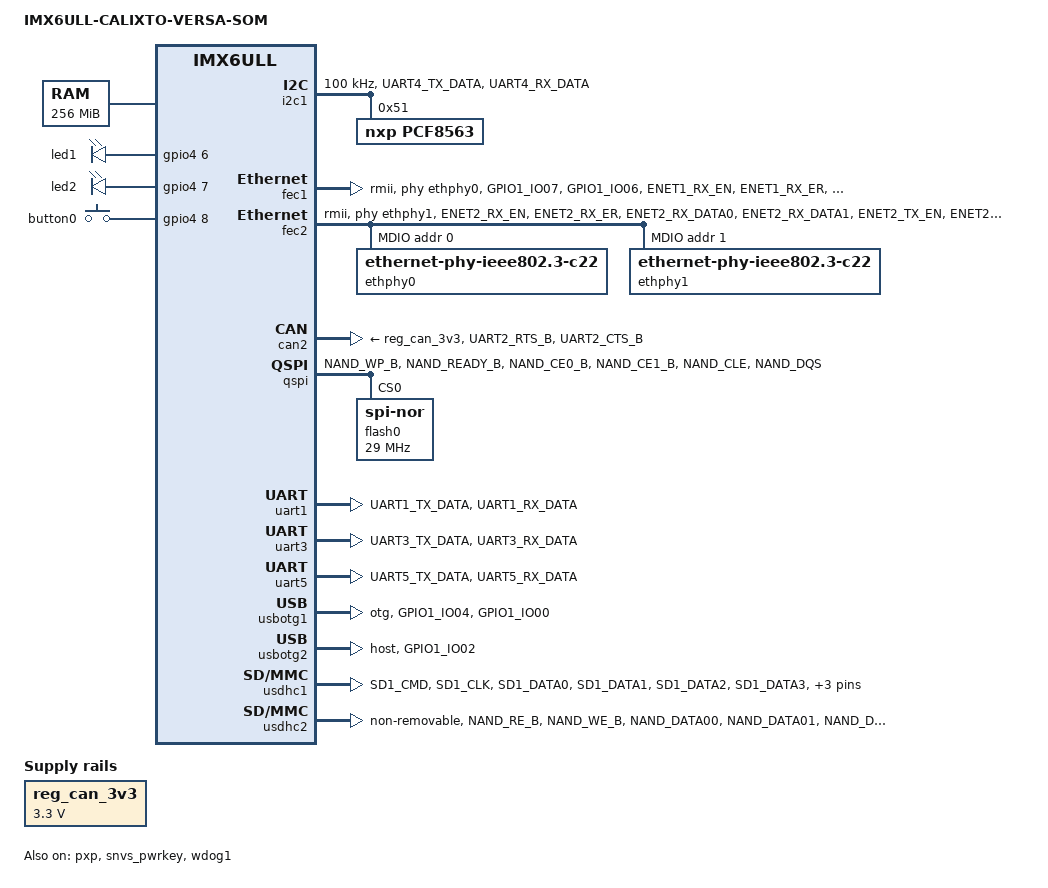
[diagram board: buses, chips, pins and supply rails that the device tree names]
// SPDX-License-Identifier: (GPL-2.0 OR MIT)
/*
 * Copyright (C) 2024-2025 Calixto Systems Pvt Ltd - https://www.calixtosystems.com/
 *
 */

/dts-v1/;

#include "imx6ull.dtsi"

/ {
	model = "IMX6ULL-CALIXTO-VERSA-SOM";
	compatible = "calixto,imx6ull-calixto-versa-som", "fsl,imx6ull";

	aliases {
		i2c0 = &i2c1;
	};

	chosen {
		stdout-path = &uart1;
	};

	memory@80000000 {
		device_type = "memory";
		reg = <0x00000000 0x80000000 0x00000000 0x10000000>;
	};

	reserved-memory {
		#address-cells = <1>;
		#size-cells = <1>;
		ranges;

		linux,cma {
			compatible = "shared-dma-pool";
			reusable;
			size = <0xa000000>;
			linux,cma-default;
		};
	};

	pxp_v4l2 {
		compatible = "fsl,imx6ul-pxp-v4l2", "fsl,imx6sx-pxp-v4l2", "fsl,imx6sl-pxp-v4l2";
		status = "okay";
	};

	reg_can_3v3: regulator-can-3v3 {
		compatible = "regulator-fixed";
		regulator-name = "can-3v3";
		regulator-min-microvolt = <3300000>;
		regulator-max-microvolt = <3300000>;
	};
	
	/* LEDS */
	leds {
        	pinctrl-names = "default";
        	pinctrl-0 = <&pinctrl_led_gpios>;

        	compatible = "gpio-leds";

        	led1 {
            		label = "led1";
            		gpios = <&gpio4 6 GPIO_ACTIVE_HIGH>;
            		linux,default-trigger = "heartbeat";
            		default-state = "on";
        	};

        	led2 {
            		label = "led2";
            		gpios = <&gpio4 7 GPIO_ACTIVE_HIGH>;
            		linux,default-trigger = "heartbeat";
            		default-state = "on";
        	};
    	};
    
        /* USER SWITCH - S3 */
    	gpio_buttons: gpio_buttons0 {
        	compatible = "gpio-keys";
        	pinctrl-names = "default";
        	pinctrl-0 = <&pinctrl_user_switch_gpio>;
        	#address-cells = <1>;
        	#size-cells = <0>;

        	switch1 {
            		label = "button0";
            		linux,code = <0x100>;
            		gpios = <&gpio4 8 GPIO_ACTIVE_HIGH>;
        	};
    	};

};

&clks {
	assigned-clocks = <&clks IMX6UL_CLK_PLL3_PFD2>,
			  <&clks IMX6UL_CLK_PLL4_AUDIO_DIV>;
	assigned-clock-rates = <320000000>, <786432000>;
};

/* I2C */
&i2c1 {
	clock-frequency = <100000>;
	pinctrl-names = "default";
	pinctrl-0 = <&pinctrl_i2c1>;
	status = "okay";

	pcf8563@51 {
		status = "okay";
		compatible = "nxp,pcf8563";
		reg = <0x51>;
	};
};

/* Ethernet */
&fec1 {
	pinctrl-names = "default";
	pinctrl-0 = <&pinctrl_enet1>;
	phy-mode = "rmii";
	phy-handle = <&ethphy0>;
	status = "okay";
};

&fec2 {
	pinctrl-names = "default";
	pinctrl-0 = <&pinctrl_enet2>;
	phy-mode = "rmii";
	phy-handle = <&ethphy1>;
	status = "okay";

	mdio {
		#address-cells = <1>;
		#size-cells = <0>;
		
		ethphy0: ethernet-phy@0 {
			compatible = "ethernet-phy-ieee802.3-c22";
			reg = <0>;
			clocks = <&clks IMX6UL_CLK_ENET_REF>;
			clock-names = "rmii-ref";

		};
		
		ethphy1: ethernet-phy@1 {
			compatible = "ethernet-phy-ieee802.3-c22";
			reg = <1>;
			clocks = <&clks IMX6UL_CLK_ENET2_REF>;
			clock-names = "rmii-ref";
		};
	};
};

/* CAN */
&can2 {
	pinctrl-names = "default";
	pinctrl-0 = <&pinctrl_flexcan2>;
	xceiver-supply = <&reg_can_3v3>;
	status = "okay";
};

&pxp {
	status = "okay";
};

/* QSPI */
&qspi {
	pinctrl-names = "default";
	pinctrl-0 = <&pinctrl_qspi>;
	status = "okay";

	flash0: flash@0 {
		#address-cells = <1>;
		#size-cells = <1>;
		compatible = "jedec,spi-nor";
		spi-max-frequency = <29000000>;
		spi-rx-bus-width = <4>;
		spi-tx-bus-width = <1>;
		reg = <0>;
	};
};

/* POWER */
&snvs_poweroff {
	status = "okay";
};

&snvs_pwrkey {
	status = "okay";
};

/* UART */
&uart1 {
	pinctrl-names = "default";
	pinctrl-0 = <&pinctrl_uart1>;
	status = "okay";
};

&uart3 {
	pinctrl-names = "default";
	pinctrl-0 = <&pinctrl_uart3>;
	status = "okay";
};

&uart5 {
	pinctrl-names = "default";
	pinctrl-0 = <&pinctrl_uart5>;
	status = "okay";
};

/* USB OTG */
&usbotg1 {
	dr_mode = "otg";
	pinctrl-names = "default";
	pinctrl-0 = <&pinctrl_usb_otg1_pwr>;
	status = "okay";
};
        

/* USB HOST */
&usbotg2 {
	dr_mode = "host";
	disable-over-current;
	pinctrl-names = "default";
        pinctrl-0 = <&pinctrl_usb_otg2_pwr>;
	status = "okay";
};

&usbphy1 {
	fsl,tx-d-cal = <106>;
};

&usbphy2 {
	fsl,tx-d-cal = <106>;
};

&usdhc1 {
	pinctrl-names = "default", "state_100mhz", "state_200mhz";
	pinctrl-0 = <&pinctrl_usdhc1>;
	pinctrl-1 = <&pinctrl_usdhc1_100mhz>;
	pinctrl-2 = <&pinctrl_usdhc1_200mhz>;
	cd-gpios = <&gpio1 19 GPIO_ACTIVE_LOW>;
	keep-power-in-suspend;
	wakeup-source;
	status = "okay";
};

&usdhc2 {
	pinctrl-names = "default";
	pinctrl-0 = <&pinctrl_usdhc2>;
	non-removable;
	keep-power-in-suspend;
	wakeup-source;
	status = "okay";
};

/* WATCHDOG */
&wdog1 {
	pinctrl-names = "default";
	pinctrl-0 = <&pinctrl_wdog>;
	fsl,ext-reset-output;
	status = "okay";
};

&iomuxc {
	pinctrl-names = "default";

	pinctrl_enet1: enet1grp {
		fsl,pins = <
			MX6UL_PAD_GPIO1_IO07__ENET2_MDC		0x1b0b0
			MX6UL_PAD_GPIO1_IO06__ENET2_MDIO	0x1b0b0
			MX6UL_PAD_ENET1_RX_EN__ENET1_RX_EN	0x1b0b0
			MX6UL_PAD_ENET1_RX_ER__ENET1_RX_ER	0x1b0b0
			MX6UL_PAD_ENET1_RX_DATA0__ENET1_RDATA00	0x1b0b0
			MX6UL_PAD_ENET1_RX_DATA1__ENET1_RDATA01	0x1b0b0
			MX6UL_PAD_ENET1_TX_EN__ENET1_TX_EN	0x1b0b0
			MX6UL_PAD_ENET1_TX_DATA0__ENET1_TDATA00	0x1b0b0
			MX6UL_PAD_ENET1_TX_DATA1__ENET1_TDATA01	0x1b0b0
			MX6UL_PAD_ENET1_TX_CLK__ENET1_REF_CLK1	0x4001b031
		>;
	};

	pinctrl_led_gpios: gpiogrp {
        	fsl,pins = <
        		MX6UL_PAD_NAND_DATA04__GPIO4_IO06	0x17059
        		MX6UL_PAD_NAND_DATA05__GPIO4_IO07	0x17059
        	>;
        };
        
        pinctrl_user_switch_gpio: gpiogrp1 {
        	fsl,pins = <
        		MX6UL_PAD_NAND_DATA06__GPIO4_IO08	0x17059
        	>;
        };
        
	pinctrl_enet2: enet2grp {
		fsl,pins = <
			MX6UL_PAD_ENET2_RX_EN__ENET2_RX_EN	0x1b0b0
			MX6UL_PAD_ENET2_RX_ER__ENET2_RX_ER	0x1b0b0
			MX6UL_PAD_ENET2_RX_DATA0__ENET2_RDATA00	0x1b0b0
			MX6UL_PAD_ENET2_RX_DATA1__ENET2_RDATA01	0x1b0b0
			MX6UL_PAD_ENET2_TX_EN__ENET2_TX_EN	0x1b0b0
			MX6UL_PAD_ENET2_TX_DATA0__ENET2_TDATA00	0x1b0b0
			MX6UL_PAD_ENET2_TX_DATA1__ENET2_TDATA01	0x1b0b0
			MX6UL_PAD_ENET2_TX_CLK__ENET2_REF_CLK2	0x4001b031
		>;
	};

	pinctrl_flexcan2: flexcan2grp{
		fsl,pins = <
			MX6UL_PAD_UART2_RTS_B__FLEXCAN2_RX	0x1b020
			MX6UL_PAD_UART2_CTS_B__FLEXCAN2_TX	0x1b020
		>;
	};

	pinctrl_i2c1: i2c1grp {
		fsl,pins = <
			MX6UL_PAD_UART4_TX_DATA__I2C1_SCL 0x4001b8b0
			MX6UL_PAD_UART4_RX_DATA__I2C1_SDA 0x4001b8b0
		>;
	};

	pinctrl_qspi: qspigrp {
		fsl,pins = <
			MX6UL_PAD_NAND_WP_B__QSPI_A_SCLK	0x70a1
			MX6UL_PAD_NAND_READY_B__QSPI_A_DATA00	0x70a1
			MX6UL_PAD_NAND_CE0_B__QSPI_A_DATA01	0x70a1
			MX6UL_PAD_NAND_CE1_B__QSPI_A_DATA02	0x70a1
			MX6UL_PAD_NAND_CLE__QSPI_A_DATA03	0x70a1
			MX6UL_PAD_NAND_DQS__QSPI_A_SS0_B	0x70a1
		>;
	};

	pinctrl_tsc: tscgrp {
		fsl,pins = <
			MX6UL_PAD_GPIO1_IO01__GPIO1_IO01		0xb0
			MX6UL_PAD_GPIO1_IO02__GPIO1_IO02		0xb0
			MX6UL_PAD_GPIO1_IO03__GPIO1_IO03		0xb0
			MX6UL_PAD_GPIO1_IO04__GPIO1_IO04		0xb0
		>;
	};

	pinctrl_uart1: uart1grp {
		fsl,pins = <
			MX6UL_PAD_UART1_TX_DATA__UART1_DCE_TX 0x1b0b1
			MX6UL_PAD_UART1_RX_DATA__UART1_DCE_RX 0x1b0b1
		>;
	};
	
	pinctrl_uart3: uart3grp {
		fsl,pins = <
			MX6UL_PAD_UART3_TX_DATA__UART3_DCE_TX 0x1b0b1
			MX6UL_PAD_UART3_RX_DATA__UART3_DCE_RX 0x1b0b1
		>;
	};
	
	pinctrl_uart5: uart5grp {
		fsl,pins = <
			MX6UL_PAD_UART5_TX_DATA__UART5_DCE_TX 0x1b0b1
			MX6UL_PAD_UART5_RX_DATA__UART5_DCE_RX 0x1b0b1
		>;
	};
	
	pinctrl_usb_otg1_pwr: usbotgpwr1grp {
		fsl,pins = <
			MX6UL_PAD_GPIO1_IO04__USB_OTG1_PWR	0x17059
			MX6UL_PAD_GPIO1_IO00__ANATOP_OTG1_ID	0x17059
		>;
	};
	
	pinctrl_usb_otg2_pwr: usbotg2grp {
		fsl,pins = <
			MX6UL_PAD_GPIO1_IO02__USB_OTG2_PWR	0x17059 /* Pin 68 */
		>;
	};
		
	pinctrl_usdhc1: usdhc1grp {
		fsl,pins = <
			MX6UL_PAD_SD1_CMD__USDHC1_CMD     	0x17059
			MX6UL_PAD_SD1_CLK__USDHC1_CLK		0x10071
			MX6UL_PAD_SD1_DATA0__USDHC1_DATA0 	0x17059
			MX6UL_PAD_SD1_DATA1__USDHC1_DATA1 	0x17059
			MX6UL_PAD_SD1_DATA2__USDHC1_DATA2 	0x17059
			MX6UL_PAD_SD1_DATA3__USDHC1_DATA3 	0x17059
			MX6UL_PAD_NAND_DATA07__GPIO4_IO09       0x17059 /* SD1 CD */
			// MX6UL_PAD_GPIO1_IO05__USDHC1_VSELECT    0x17059 /* SD1 VSELECT */
			MX6UL_PAD_GPIO1_IO09__GPIO1_IO09        0x17059 /* SD1 RESET */
		>;
	};

	pinctrl_usdhc1_100mhz: usdhc1grp100mhz {
		fsl,pins = <
			MX6UL_PAD_SD1_CMD__USDHC1_CMD     0x170b9
			MX6UL_PAD_SD1_CLK__USDHC1_CLK     0x100b9
			MX6UL_PAD_SD1_DATA0__USDHC1_DATA0 0x170b9
			MX6UL_PAD_SD1_DATA1__USDHC1_DATA1 0x170b9
			MX6UL_PAD_SD1_DATA2__USDHC1_DATA2 0x170b9
			MX6UL_PAD_SD1_DATA3__USDHC1_DATA3 0x170b9

		>;
	};

	pinctrl_usdhc1_200mhz: usdhc1grp200mhz {
		fsl,pins = <
			MX6UL_PAD_SD1_CMD__USDHC1_CMD     0x170f9
			MX6UL_PAD_SD1_CLK__USDHC1_CLK     0x100f9
			MX6UL_PAD_SD1_DATA0__USDHC1_DATA0 0x170f9
			MX6UL_PAD_SD1_DATA1__USDHC1_DATA1 0x170f9
			MX6UL_PAD_SD1_DATA2__USDHC1_DATA2 0x170f9
			MX6UL_PAD_SD1_DATA3__USDHC1_DATA3 0x170f9
		>;
	};

	pinctrl_usdhc2: usdhc2grp {
		fsl,pins = <
			MX6UL_PAD_NAND_RE_B__USDHC2_CLK     0x17059
			MX6UL_PAD_NAND_WE_B__USDHC2_CMD     0x17059
			MX6UL_PAD_NAND_DATA00__USDHC2_DATA0 0x17059
			MX6UL_PAD_NAND_DATA01__USDHC2_DATA1 0x17059
			MX6UL_PAD_NAND_DATA02__USDHC2_DATA2 0x17059
			MX6UL_PAD_NAND_DATA03__USDHC2_DATA3 0x17059
		>;
	};

	pinctrl_usdhc2_8bit: usdhc2grp_8bit {
		fsl,pins = <
			MX6UL_PAD_NAND_RE_B__USDHC2_CLK     0x10069
			MX6UL_PAD_NAND_WE_B__USDHC2_CMD     0x17059
			MX6UL_PAD_NAND_DATA00__USDHC2_DATA0 0x17059
			MX6UL_PAD_NAND_DATA01__USDHC2_DATA1 0x17059
			MX6UL_PAD_NAND_DATA02__USDHC2_DATA2 0x17059
			MX6UL_PAD_NAND_DATA03__USDHC2_DATA3 0x17059
		>;
	};

	pinctrl_usdhc2_8bit_100mhz: usdhc2grp_8bit_100mhz {
		fsl,pins = <
			MX6UL_PAD_NAND_RE_B__USDHC2_CLK     0x100b9
			MX6UL_PAD_NAND_WE_B__USDHC2_CMD     0x170b9
			MX6UL_PAD_NAND_DATA00__USDHC2_DATA0 0x170b9
			MX6UL_PAD_NAND_DATA01__USDHC2_DATA1 0x170b9
			MX6UL_PAD_NAND_DATA02__USDHC2_DATA2 0x170b9
			MX6UL_PAD_NAND_DATA03__USDHC2_DATA3 0x170b9
		>;
	};

	pinctrl_usdhc2_8bit_200mhz: usdhc2grp_8bit_200mhz {
		fsl,pins = <
			MX6UL_PAD_NAND_RE_B__USDHC2_CLK     0x100f9
			MX6UL_PAD_NAND_WE_B__USDHC2_CMD     0x170f9
			MX6UL_PAD_NAND_DATA00__USDHC2_DATA0 0x170f9
			MX6UL_PAD_NAND_DATA01__USDHC2_DATA1 0x170f9
			MX6UL_PAD_NAND_DATA02__USDHC2_DATA2 0x170f9
			MX6UL_PAD_NAND_DATA03__USDHC2_DATA3 0x170f9
		>;
	};
	
	pinctrl_wdog: wdoggrp {
			fsl,pins = <
				MX6UL_PAD_LCD_RESET__WDOG1_WDOG_ANY    0x30b0
			>;
		};

};
